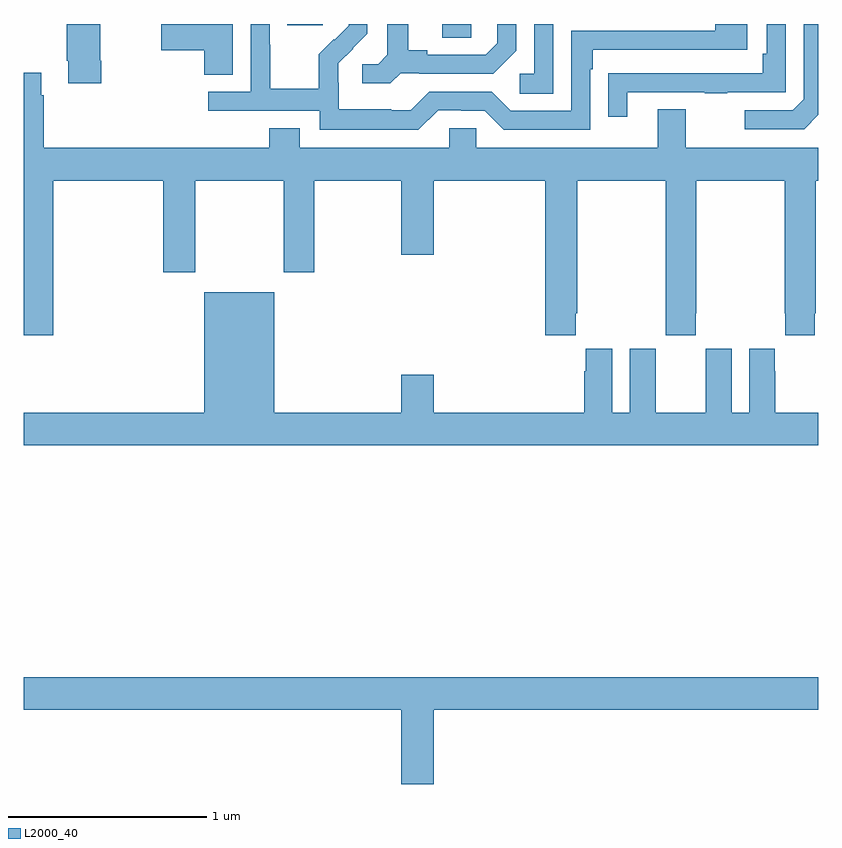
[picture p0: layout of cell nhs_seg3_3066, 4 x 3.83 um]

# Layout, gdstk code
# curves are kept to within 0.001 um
import gdstk
lib = gdstk.Library(unit=1e-6, precision=1e-09)
def R(c, l, rs):  # rectangles x0, y0, x1, y1
    for r in rs: c.add(gdstk.rectangle(r[:2], r[2:], *l))
def P(c, l, *ps):  # polygons
    for p in ps: c.add(gdstk.Polygon(p, *l))
L2000_40 = (2000, 40)

nhs_seg3_3066 = lib.new_cell('nhs_seg3_3066')
R(nhs_seg3_3066, L2000_40, [(273.107,672.331,273.252,672.4), (272.327,672.393,272.506,672.4)])
P(nhs_seg3_3066, L2000_40, [(275,671.942),(275,672.4),(274.926,672.4),(274.926,672.021),(274.872,671.967),(274.629,671.967),(274.629,671.871),(274.929,671.871)],
  [(274.039,672.057),(274.429,672.057),(274.429,672.052),(274.541,672.052),(274.541,672.057),(274.836,672.057),(274.836,672.4),(274.74,672.4),(274.74,672.25),(274.72,672.25),(274.72,672.153),(274.045,672.153),(274.045,672.152),(273.943,672.152),(273.943,671.934),(274.039,671.934)],
  [(272.053,672.4),(271.692,672.4),(271.692,672.269),(271.91,672.269),(271.91,672.145),(272.053,672.145)],
  [(271.391,672.214),(271.386,672.214),(271.386,672.4),(271.216,672.4),(271.216,672.214),(271.223,672.214),(271.223,672.102),(271.391,672.102)],
  [(273.087,671.967),(273.203,671.967),(273.203,671.964),(273.321,671.964),(273.417,671.868),(273.852,671.868),(273.852,672.173),(273.865,672.173),(273.865,672.27),(274.642,672.27),(274.642,672.4),(274.481,672.4),(274.481,672.366),(273.756,672.366),(273.756,671.964),(273.453,671.964),(273.357,672.06),(273.042,672.06),(272.949,671.967),(272.849,671.967),(272.849,671.971),(272.586,671.971),(272.586,672.105),(272.584,672.105),(272.584,672.202),(272.73,672.35),(272.73,672.4),(272.636,672.4),(272.636,672.392),(272.565,672.321),(272.562,672.324),(272.485,672.247),(272.485,672.073),(272.241,672.073),(272.241,672.296),(272.238,672.296),(272.238,672.4),(272.142,672.4),(272.142,672.06),(271.929,672.06),(271.929,671.964),(272.49,671.964),(272.49,671.867),(272.987,671.867)],
  [(273.666,672.4),(273.57,672.4),(273.57,672.15),(273.498,672.15),(273.498,672.049),(273.666,672.049)],
  [(272.898,672.153),(272.992,672.153),(272.992,672.15),(273.364,672.15),(273.48,672.266),(273.48,672.4),(273.383,672.4),(273.383,672.303),(273.326,672.246),(273.031,672.246),(273.031,672.269),(272.935,672.269),(272.935,672.4),(272.831,672.4),(272.831,672.245),(272.784,672.198),(272.703,672.198),(272.703,672.101),(272.846,672.101)],
  [(271.148,671.612),(271.703,671.612),(271.703,671.151),(271.863,671.151),(271.863,671.612),(272.308,671.612),(272.308,671.151),(272.463,671.151),(272.463,671.612),(272.9,671.612),(272.9,671.238),(273.064,671.238),(273.064,671.612),(273.626,671.612),(273.626,670.833),(273.779,670.833),(273.779,670.945),(273.786,670.945),(273.786,671.612),(274.231,671.612),(274.231,670.945),(274.233,670.945),(274.233,670.833),(274.383,670.833),(274.383,670.945),(274.386,670.945),(274.386,671.612),(274.831,671.612),(274.831,670.945),(274.833,670.945),(274.833,670.833),(274.983,670.833),(274.983,670.945),(274.986,670.945),(274.986,671.612),(275,671.612),(275,671.776),(274.333,671.776),(274.333,671.971),(274.193,671.971),(274.193,671.776),(273.279,671.776),(273.279,671.874),(273.141,671.874),(273.141,671.776),(272.389,671.776),(272.389,671.875),(272.237,671.875),(272.237,671.776),(271.1,671.776),(271.1,672.041),(271.087,672.041),(271.087,672.154),(271,672.154),(271,670.833),(271.148,670.833)],
  [(275,670.444),(274.783,670.444),(274.783,670.652),(274.782,670.652),(274.782,670.765),(274.652,670.765),(274.652,670.444),(274.564,670.444),(274.564,670.765),(274.434,670.765),(274.434,670.652),(274.433,670.652),(274.433,670.444),(274.183,670.444),(274.183,670.652),(274.182,670.652),(274.182,670.765),(274.052,670.765),(274.052,670.444),(273.964,670.444),(273.964,670.765),(273.83,670.765),(273.83,670.652),(273.821,670.652),(273.821,670.444),(273.064,670.444),(273.064,670.633),(272.9,670.633),(272.9,670.444),(272.26,670.444),(272.26,671.05),(271.91,671.05),(271.91,670.444),(271,670.444),(271,670.28),(275,670.28)],
  [(273.064,668.948),(275,668.948),(275,669.112),(271,669.112),(271,668.948),(272.9,668.948),(272.9,668.574),(273.064,668.574)])

lib.write_gds('nhs_seg3_3066.gds')
